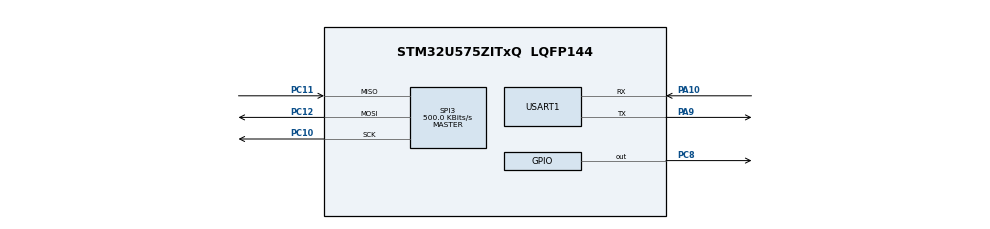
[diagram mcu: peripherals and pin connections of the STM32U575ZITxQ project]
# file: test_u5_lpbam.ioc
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CORTEX_M33_NS.userName=CORTEX_M33
Mcu.Family=STM32U5
Mcu.Name=STM32U575ZITxQ
Mcu.Package=LQFP144
NVIC.PriorityGroup=NVIC_PRIORITYGROUP_4
NVIC.USART1_IRQn=true\:0\:0\:false\:false\:true\:true\:true\:true
PA10.Mode=Asynchronous
PA10.Signal=USART1_RX
PA13\ (JTMS/SWDIO).Mode=Trace_Asynchronous_SW
PA13\ (JTMS/SWDIO).Signal=DEBUG_JTMS-SWDIO
PA14\ (JTCK/SWCLK).Mode=Trace_Asynchronous_SW
PA14\ (JTCK/SWCLK).Signal=DEBUG_JTCK-SWCLK
PA9.Mode=Asynchronous
PA9.Signal=USART1_TX
PB3\ (JTDO/TRACESWO).Mode=Trace_Asynchronous_SW
PB3\ (JTDO/TRACESWO).Signal=DEBUG_JTDO-SWO
PC10.Mode=Full_Duplex_Master
PC10.Signal=SPI3_SCK
PC11.Mode=Full_Duplex_Master
PC11.Signal=SPI3_MISO
PC12.Mode=Full_Duplex_Master
PC12.Signal=SPI3_MOSI
PC8.Signal=GPIO_Output
PWR.PowerMode=PWR_SMPS_SUPPLY
ProjectManager.HeapSize=0x200
ProjectManager.StackSize=0x400
ProjectManager.TargetToolchain=STM32CubeIDE
RCC.ADCFreq_Value=16000000
RCC.DACCLockSelectionVirtual=RCC_DAC1CLKSOURCE_LSI
RCC.DACCLockSelectionVirtualString=RCC_DAC1CLKSOURCE_LSI
RCC.EPOD_VALUE=4000000
RCC.HSE_VALUE=16000000
RCC.HSI48_VALUE=48000000
RCC.HSI_VALUE=16000000
RCC.LSE_VALUE=32768
RCC.LSIDIV_VALUE=32000
RCC.MSI_VALUE=4000000
RCC.USBFreq_Value=48000000
RCC.VCOOutputFreq_Value=516000000
SPI3.BaudRatePrescaler=SPI_BAUDRATEPRESCALER_8
SPI3.CLKPhase=SPI_PHASE_2EDGE
SPI3.CLKPolarity=SPI_POLARITY_HIGH
SPI3.CRCCalculation=SPI_CRCCALCULATION_DISABLE
SPI3.CalculateBaudRate=500.0 KBits/s
SPI3.Direction=SPI_DIRECTION_2LINES
SPI3.Mode=SPI_MODE_MASTER
SPI3.VirtualType=VM_MASTER
USART1.VirtualMode-Asynchronous=VM_ASYNC
VP_ICACHE_VS_ICACHE.Mode=DirectMappedCache
VP_PWR_VS_LPOM.Mode=PowerOptimisation
VP_PWR_VS_SECSignals.Mode=Security/Privilege
board=custom

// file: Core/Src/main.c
/* USER CODE BEGIN Header */
/**
  ******************************************************************************
  * @file           : main.c
  * @brief          : Main program body
  ******************************************************************************
  * @attention
  *
  * Copyright (c) 2022 STMicroelectronics.
  * All rights reserved.
  *
  * This software is licensed under terms that can be found in the LICENSE file
  * in the root directory of this software component.
  * If no LICENSE file comes with this software, it is provided AS-IS.
  *
  ******************************************************************************
  */
/* USER CODE END Header */
#include "main.h"
#include "icache.h"
#include "spi.h"
#include "usart.h"
#include "gpio.h"

/* USER CODE BEGIN Includes */
#include "stdio.h"
#include "bme280.h"
#include "bme280_application.h"
/* USER CODE END Includes */

void SystemClock_Config(void);
static void SystemPower_Config(void);

/* USER CODE BEGIN 0 */
int _write(int file, char *ptr, int len)
{
	HAL_UART_Transmit_IT(&huart1, (const uint8_t *)(ptr), len);

	return len;
}
/* USER CODE END 0 */

int main(void)
{
  /* USER CODE BEGIN 1 */
  struct bme280_dev dev;
  int8_t result = BME280_OK;

  /* USER CODE END 1 */

  /* MCU Configuration--------------------------------------------------------*/

  /* Reset of all peripherals, Initializes the Flash interface and the Systick. */
  HAL_Init();

  /* Configure the system clock */
  SystemClock_Config();

  /* Configure the System Power */
  SystemPower_Config();

  /* Initialize all configured peripherals */
  MX_GPIO_Init();
  MX_ICACHE_Init();
  MX_SPI3_Init();
  MX_USART1_UART_Init();
  /* USER CODE BEGIN 2 */
  dev.dev_id = 0;
  dev.intf = BME280_SPI_INTF;
  dev.read = SPI_Read;
  dev.write = SPI_Write;
  dev.delay_ms = HAL_Delay;

  result = bme280_init(&dev);
  if(result == 0)
  {
	  printf("Init Success\r\n");
  }
  else
  {
	  printf("Init Fail,Please Check your address or the wire you connected!!! (result=%d)\r\n", result);
	  while(1);
  }
  /* USER CODE END 2 */

  /* Infinite loop */
  while (1)
  {

    /* USER CODE BEGIN 3 */
	//Using normal mode to read the data
	stream_sensor_data_normal_mode(&dev);
  }
  /* USER CODE END 3 */
}

void SystemClock_Config(void)
{
  RCC_OscInitTypeDef RCC_OscInitStruct = {0};
  RCC_ClkInitTypeDef RCC_ClkInitStruct = {0};

  /** Configure the main internal regulator output voltage
  */
  if (HAL_PWREx_ControlVoltageScaling(PWR_REGULATOR_VOLTAGE_SCALE4) != HAL_OK)
  {
    Error_Handler();
  }

  /** Initializes the CPU, AHB and APB buses clocks
  */
  RCC_OscInitStruct.OscillatorType = RCC_OSCILLATORTYPE_MSI;
  RCC_OscInitStruct.MSIState = RCC_MSI_ON;
  RCC_OscInitStruct.MSICalibrationValue = RCC_MSICALIBRATION_DEFAULT;
  RCC_OscInitStruct.MSIClockRange = RCC_MSIRANGE_4;
  RCC_OscInitStruct.PLL.PLLState = RCC_PLL_NONE;
  if (HAL_RCC_OscConfig(&RCC_OscInitStruct) != HAL_OK)
  {
    Error_Handler();
  }

  /** Initializes the CPU, AHB and APB buses clocks
  */
  RCC_ClkInitStruct.ClockType = RCC_CLOCKTYPE_HCLK|RCC_CLOCKTYPE_SYSCLK
                              |RCC_CLOCKTYPE_PCLK1|RCC_CLOCKTYPE_PCLK2
                              |RCC_CLOCKTYPE_PCLK3;
  RCC_ClkInitStruct.SYSCLKSource = RCC_SYSCLKSOURCE_MSI;
  RCC_ClkInitStruct.AHBCLKDivider = RCC_SYSCLK_DIV1;
  RCC_ClkInitStruct.APB1CLKDivider = RCC_HCLK_DIV1;
  RCC_ClkInitStruct.APB2CLKDivider = RCC_HCLK_DIV1;
  RCC_ClkInitStruct.APB3CLKDivider = RCC_HCLK_DIV1;

  if (HAL_RCC_ClockConfig(&RCC_ClkInitStruct, FLASH_LATENCY_0) != HAL_OK)
  {
    Error_Handler();
  }
}

/**
  * @brief Power Configuration
  * @retval None
  */
static void SystemPower_Config(void)
{

  /*
   * Switch to SMPS regulator instead of LDO
   */
  if (HAL_PWREx_ConfigSupply(PWR_SMPS_SUPPLY) != HAL_OK)
  {
    Error_Handler();
  }
}

void Error_Handler(void)
{
  __disable_irq();
  while (1)
  {
  }
}
